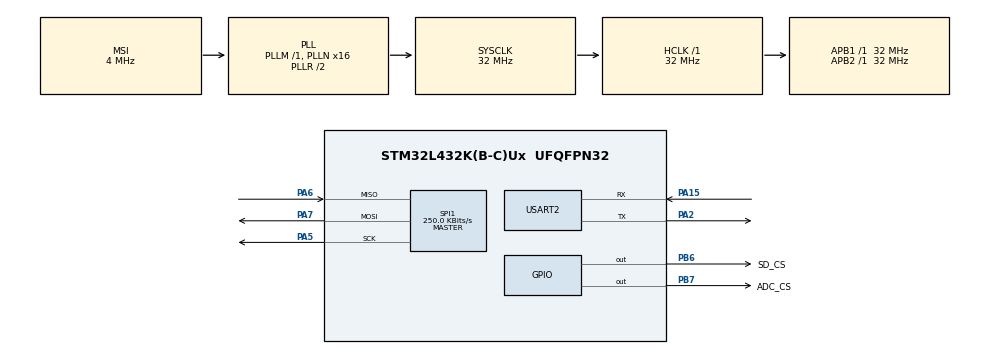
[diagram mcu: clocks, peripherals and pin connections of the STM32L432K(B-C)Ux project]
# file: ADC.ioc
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Mcu.Family=STM32L4
Mcu.Name=STM32L432K(B-C)Ux
Mcu.Package=UFQFPN32
NVIC.PriorityGroup=NVIC_PRIORITYGROUP_4
PA0.Mode=HSE-External-Clock-Source-for-LittleOrca
PA0.Signal=RCC_CK_IN
PA1.Signal=ADCx_IN6
PA15\ (JTDI).Mode=Asynchronous
PA15\ (JTDI).Signal=USART2_RX
PA2.Mode=Asynchronous
PA2.Signal=USART2_TX
PA5.Mode=Full_Duplex_Master
PA5.Signal=SPI1_SCK
PA6.Mode=Full_Duplex_Master
PA6.Signal=SPI1_MISO
PA7.Mode=Full_Duplex_Master
PA7.Signal=SPI1_MOSI
PB6.GPIO_Label=SD_CS
PB6.Signal=GPIO_Output
PB7.GPIO_Label=ADC_CS
PB7.Signal=GPIO_Output
ProjectManager.HeapSize=0x200
ProjectManager.StackSize=0x400
ProjectManager.TargetToolchain=STM32CubeIDE
RCC.ADCFreq_Value=32000000
RCC.AHBFreq_Value=32000000
RCC.APB1Freq_Value=32000000
RCC.APB1TimFreq_Value=32000000
RCC.APB2Freq_Value=32000000
RCC.APB2TimFreq_Value=32000000
RCC.CortexFreq_Value=32000000
RCC.HCLKFreq_Value=32000000
RCC.HSE_VALUE=8000000
RCC.HSI16_VALUE=16000000
RCC.HSI48_VALUE=48000000
RCC.HSI_VALUE=16000000
RCC.LSE_VALUE=32768
RCC.MSI_VALUE=4000000
RCC.PLLMUL=RCC_PLLMUL_4
RCC.PLLN=16
RCC.PLLSAI1N=16
RCC.SYSCLKFreq_VALUE=32000000
RCC.SYSCLKSource=RCC_SYSCLKSOURCE_PLLCLK
RCC.USBFreq_Value=32000000
RCC.VCOOutputFreq_Value=64000000
SH.ADCx_IN6.0=ADC1_IN6
SPI1.BaudRatePrescaler=SPI_BAUDRATEPRESCALER_128
SPI1.CalculateBaudRate=250.0 KBits/s
SPI1.DataSize=SPI_DATASIZE_8BIT
SPI1.Direction=SPI_DIRECTION_2LINES
SPI1.Mode=SPI_MODE_MASTER
SPI1.VirtualType=VM_MASTER
USART2.VirtualMode-Asynchronous=VM_ASYNC
VP_TIM2_VS_ClockSourceINT.Mode=Internal
board=NUCLEO-L432KC

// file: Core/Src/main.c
/* USER CODE BEGIN Header */
/**
  ******************************************************************************
  * @file           : main.c
  * @brief          : Main program body
  ******************************************************************************
  * @attention
  *
  * Copyright (c) 2024 STMicroelectronics.
  * All rights reserved.
  *
  * This software is licensed under terms that can be found in the LICENSE file
  * in the root directory of this software component.
  * If no LICENSE file comes with this software, it is provided AS-IS.
  *
  ******************************************************************************
  */
/* USER CODE END Header */
#include "main.h"

/* USER CODE BEGIN Includes */
#include "stm32l4xx_hal.h"
#include <stdio.h>
#include <string.h>
#include <stdarg.h> //for va_list var arg functions
#include "mcp3204.h"
/* USER CODE END Includes */

/* USER CODE BEGIN PD */

//some variables for FatFs

MCP3204 ad_MCP3204 = {1, 5};

/* USER CODE END PD */

SPI_HandleTypeDef hspi1;

TIM_HandleTypeDef htim2;

UART_HandleTypeDef huart2;

void SystemClock_Config(void);
static void MX_GPIO_Init(void);
static void MX_USART2_UART_Init(void);
static void MX_TIM2_Init(void);
static void MX_SPI1_Init(void);
/* USER CODE BEGIN PFP */
void myprintf(const char *fmt, ...);
/* USER CODE END PFP */

/* USER CODE BEGIN 0 */
void myprintf(const char *fmt, ...) {
  static char buffer[256];
  va_list args;
  va_start(args, fmt);
  vsnprintf(buffer, sizeof(buffer), fmt, args);
  va_end(args);

  int len = strlen(buffer);
  HAL_UART_Transmit(&huart2, (uint8_t*)buffer, len, -1);

}
/* USER CODE END 0 */

int main(void)
{

  /* MCU Configuration--------------------------------------------------------*/

  /* Reset of all peripherals, Initializes the Flash interface and the Systick. */
  HAL_Init();

  /* Configure the system clock */
  SystemClock_Config();

  /* Initialize all configured peripherals */
  MX_GPIO_Init();
  MX_USART2_UART_Init();
  MX_TIM2_Init();
  MX_SPI1_Init();
  /* USER CODE BEGIN 2 */

   myprintf("\r\n~ Datalogger begin ~\r\n\r\n");

   HAL_Delay(1000); //a short delay is important to let the SD card settle

  //Open the file system

   //try to write file "data.txt"

   // write header

   // Start timers

   // Time to record data [ms]

   // Stop Timers

  //Close file

  /* USER CODE END 2 */

  /* Infinite loop */
  while (1)
  {

    /* USER CODE BEGIN 3 */

	  // Notify user writing is finished and drive is unmounted.
	  myprintf("Finished writing!\r\n");
	  HAL_Delay(1000);

	  //HAL_GPIO_WritePin(GPIOB, GPIO_PIN_7, GPIO_PIN_RESET);

	  static char buffer[32];
		static char msg[55];

		// Check which version of the timer triggered this callback and toggle LED
		//if (htim == &htim6)
		//{
	//		static int start_tim;
	//		static int end_tim;
	//		start_tim = TIM2->CNT;
	//		end_tim = TIM2->CNT;
	//		myprintf("Execution time = %i us\r\n", end_tim - start_tim);

			// measure ADC value
			if (MCP3204_convert(&hspi1, GPIOB, GPIO_PIN_7, singleEnded, CH0, &ad_MCP3204, msg))
				{
					myprintf("Error during conversion.\n");
					myprintf("%s\n",msg);

				}

			// bugfixing msg
			myprintf("Time: ,	Data: %.3lf\n\r",  MCP3204_analogValue(ad_MCP3204));

			//write data to file
			sprintf(buffer, "	Data: %lf\n\r",  MCP3204_analogValue(ad_MCP3204));
		//}

  }
  /* USER CODE END 3 */
}

void SystemClock_Config(void)
{
  RCC_OscInitTypeDef RCC_OscInitStruct = {0};
  RCC_ClkInitTypeDef RCC_ClkInitStruct = {0};

  /** Configure the main internal regulator output voltage
  */
  if (HAL_PWREx_ControlVoltageScaling(PWR_REGULATOR_VOLTAGE_SCALE1) != HAL_OK)
  {
    Error_Handler();
  }

  /** Initializes the RCC Oscillators according to the specified parameters
  * in the RCC_OscInitTypeDef structure.
  */
  RCC_OscInitStruct.OscillatorType = RCC_OSCILLATORTYPE_MSI;
  RCC_OscInitStruct.MSIState = RCC_MSI_ON;
  RCC_OscInitStruct.MSICalibrationValue = 0;
  RCC_OscInitStruct.MSIClockRange = RCC_MSIRANGE_6;
  RCC_OscInitStruct.PLL.PLLState = RCC_PLL_ON;
  RCC_OscInitStruct.PLL.PLLSource = RCC_PLLSOURCE_MSI;
  RCC_OscInitStruct.PLL.PLLM = 1;
  RCC_OscInitStruct.PLL.PLLN = 16;
  RCC_OscInitStruct.PLL.PLLP = RCC_PLLP_DIV7;
  RCC_OscInitStruct.PLL.PLLQ = RCC_PLLQ_DIV2;
  RCC_OscInitStruct.PLL.PLLR = RCC_PLLR_DIV2;
  if (HAL_RCC_OscConfig(&RCC_OscInitStruct) != HAL_OK)
  {
    Error_Handler();
  }

  /** Initializes the CPU, AHB and APB buses clocks
  */
  RCC_ClkInitStruct.ClockType = RCC_CLOCKTYPE_HCLK|RCC_CLOCKTYPE_SYSCLK
                              |RCC_CLOCKTYPE_PCLK1|RCC_CLOCKTYPE_PCLK2;
  RCC_ClkInitStruct.SYSCLKSource = RCC_SYSCLKSOURCE_PLLCLK;
  RCC_ClkInitStruct.AHBCLKDivider = RCC_SYSCLK_DIV1;
  RCC_ClkInitStruct.APB1CLKDivider = RCC_HCLK_DIV1;
  RCC_ClkInitStruct.APB2CLKDivider = RCC_HCLK_DIV1;

  if (HAL_RCC_ClockConfig(&RCC_ClkInitStruct, FLASH_LATENCY_1) != HAL_OK)
  {
    Error_Handler();
  }
}

static void MX_SPI1_Init(void)
{

  /* SPI1 parameter configuration*/
  hspi1.Instance = SPI1;
  hspi1.Init.Mode = SPI_MODE_MASTER;
  hspi1.Init.Direction = SPI_DIRECTION_2LINES;
  hspi1.Init.DataSize = SPI_DATASIZE_8BIT;
  hspi1.Init.CLKPolarity = SPI_POLARITY_LOW;
  hspi1.Init.CLKPhase = SPI_PHASE_1EDGE;
  hspi1.Init.NSS = SPI_NSS_SOFT;
  hspi1.Init.BaudRatePrescaler = SPI_BAUDRATEPRESCALER_128;
  hspi1.Init.FirstBit = SPI_FIRSTBIT_MSB;
  hspi1.Init.TIMode = SPI_TIMODE_DISABLE;
  hspi1.Init.CRCCalculation = SPI_CRCCALCULATION_DISABLE;
  hspi1.Init.CRCPolynomial = 7;
  hspi1.Init.CRCLength = SPI_CRC_LENGTH_DATASIZE;
  hspi1.Init.NSSPMode = SPI_NSS_PULSE_ENABLE;
  if (HAL_SPI_Init(&hspi1) != HAL_OK)
  {
    Error_Handler();
  }

}

static void MX_TIM2_Init(void)
{

  TIM_ClockConfigTypeDef sClockSourceConfig = {0};
  TIM_MasterConfigTypeDef sMasterConfig = {0};

  htim2.Instance = TIM2;
  htim2.Init.Prescaler = 0;
  htim2.Init.CounterMode = TIM_COUNTERMODE_UP;
  htim2.Init.Period = 4294967295;
  htim2.Init.ClockDivision = TIM_CLOCKDIVISION_DIV1;
  htim2.Init.AutoReloadPreload = TIM_AUTORELOAD_PRELOAD_DISABLE;
  if (HAL_TIM_Base_Init(&htim2) != HAL_OK)
  {
    Error_Handler();
  }
  sClockSourceConfig.ClockSource = TIM_CLOCKSOURCE_INTERNAL;
  if (HAL_TIM_ConfigClockSource(&htim2, &sClockSourceConfig) != HAL_OK)
  {
    Error_Handler();
  }
  sMasterConfig.MasterOutputTrigger = TIM_TRGO_RESET;
  sMasterConfig.MasterSlaveMode = TIM_MASTERSLAVEMODE_DISABLE;
  if (HAL_TIMEx_MasterConfigSynchronization(&htim2, &sMasterConfig) != HAL_OK)
  {
    Error_Handler();
  }

}

static void MX_USART2_UART_Init(void)
{

  huart2.Instance = USART2;
  huart2.Init.BaudRate = 115200;
  huart2.Init.WordLength = UART_WORDLENGTH_8B;
  huart2.Init.StopBits = UART_STOPBITS_1;
  huart2.Init.Parity = UART_PARITY_NONE;
  huart2.Init.Mode = UART_MODE_TX_RX;
  huart2.Init.HwFlowCtl = UART_HWCONTROL_NONE;
  huart2.Init.OverSampling = UART_OVERSAMPLING_16;
  huart2.Init.OneBitSampling = UART_ONE_BIT_SAMPLE_DISABLE;
  huart2.AdvancedInit.AdvFeatureInit = UART_ADVFEATURE_NO_INIT;
  if (HAL_UART_Init(&huart2) != HAL_OK)
  {
    Error_Handler();
  }

}

static void MX_GPIO_Init(void)
{
  GPIO_InitTypeDef GPIO_InitStruct = {0};

  /* GPIO Ports Clock Enable */
  __HAL_RCC_GPIOA_CLK_ENABLE();
  __HAL_RCC_GPIOB_CLK_ENABLE();

  /*Configure GPIO pin Output Level */
  HAL_GPIO_WritePin(GPIOB, SD_CS_Pin|ADC_CS_Pin, GPIO_PIN_RESET);

  /*Configure GPIO pin : PA1 */
  GPIO_InitStruct.Pin = GPIO_PIN_1;
  GPIO_InitStruct.Mode = GPIO_MODE_ANALOG_ADC_CONTROL;
  GPIO_InitStruct.Pull = GPIO_NOPULL;
  HAL_GPIO_Init(GPIOA, &GPIO_InitStruct);

  /*Configure GPIO pins : SD_CS_Pin ADC_CS_Pin */
  GPIO_InitStruct.Pin = SD_CS_Pin|ADC_CS_Pin;
  GPIO_InitStruct.Mode = GPIO_MODE_OUTPUT_PP;
  GPIO_InitStruct.Pull = GPIO_NOPULL;
  GPIO_InitStruct.Speed = GPIO_SPEED_FREQ_LOW;
  HAL_GPIO_Init(GPIOB, &GPIO_InitStruct);

}

/* USER CODE BEGIN 4 */

// Callback: timer has rolled over

/* USER CODE END 4 */

void Error_Handler(void)
{
  __disable_irq();
  while (1)
  {
  }
}
